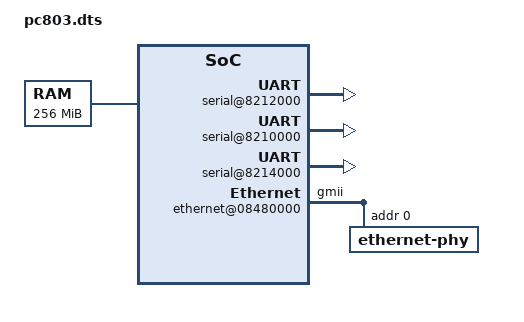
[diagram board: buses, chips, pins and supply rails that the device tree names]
/dts-v1/;
/ {
    #address-cells = <2>;
    #size-cells = <2>;

    aliases {
        uart0 = "/serial@8212000";
        uart1 = "/serial@8210000";
        uart2 = "/serial@8214000";
    };

    chosen {
        bootargs = "console=ttyS0,115200n8 earlycon=sbi";
        stdout-path = "uart0:115200n8";
    };

    per_clk: per_clk {
        #clock-cells = <0>;
        compatible = "fixed-clock";
        clock-frequency = <325000000>;
    };

    cpus {
        #address-cells = <1>;
        #size-cells = <0>;
        timebase-frequency = <30720000>;

        cpu0: cpu@0 {
            device_type = "cpu";
            compatible = "riscv";
            clock-frequency = <998400000>;
            riscv,priv-major = <0x1>;
            riscv,priv-minor = <0xa>;
            i-cache-size = <0x8000>;
            i-cache-line-size = <0x20>;
            i-cache-sets = <0x80>;
            d-cache-size = <0x8000>;
            d-cache-line-size = <0x20>;
            d-cache-sets = <0x80>;
            mmu-type = "riscv,sv64";
            reg = <0>;
            riscv,isa = "rv64imafdc";
            status = "okay";
            cpu0_intc: interrupt-controller {
                #interrupt-cells = <1>;
                compatible = "riscv,cpu-intc";
                interrupt-controller;
            };
        };

        cpu1: cpu@1 {
            device_type = "cpu";
            compatible = "riscv";
            clock-frequency = <998400000>;
            riscv,priv-major = <0x1>;
            riscv,priv-minor = <0xa>;
            i-cache-size = <0x8000>;
            i-cache-line-size = <0x20>;
            i-cache-sets = <0x80>;
            d-cache-size = <0x8000>;
            d-cache-line-size = <0x20>;
            d-cache-sets = <0x80>;
            mmu-type = "riscv,sv64";
            reg = <1>;
            riscv,isa = "rv64imafdc";
            status = "okay";
            cpu1_intc: interrupt-controller {
                #interrupt-cells = <1>;
                compatible = "riscv,cpu-intc";
                interrupt-controller;
            };
        };

    };

    memory@80000000 {
        /* ddr 256M */
        device_type = "memory";
        reg = <0x0 0x80000000 0x0 0x10000000>;
    };


    plic0: interrupt-controller@C800000 {
        #interrupt-cells = <1>;
        compatible = "riscv,plic0";
        interrupt-controller;
        riscv,ndev = <152>;
        interrupts-extended = <
            &cpu0_intc 11 &cpu0_intc 9
            &cpu1_intc 11 &cpu0_intc 9 >;
        reg = <0xC800000 0x400000>;
    };

    plmt0@C400000 {
        compatible = "riscv,plmt0";
        reg = <0x0 0xC400000 0x0 0x100000>;
        interrupts-extended = <&cpu0_intc 0x7 &cpu1_intc 0x7>;
    };

    serial@8212000 {
        compatible = "snps,dw-apb-uart";
        reg = <0x0 0x8212000 0x0 0x100>;
        clocks = <&per_clk>;
        clock-names = "baudclk";
        interrupts = <70>;
        reg-shift = <2>;
        reg-io-width = <4>;
        interrupt-parent = <&plic0>;
    };

    serial@8210000 {
        compatible = "snps,dw-apb-uaethernet@10090000rt";
        reg = <0x0 0x8210000 0x0 0x100>;
        clocks = <&per_clk>;
        clock-names = "baudclk";
        interrupts = <71>;
        reg-shift = <2>;
        reg-io-width = <4>;
        interrupt-parent = <&plic0>;
    };

    serial@8214000 {
        compatible = "snps,dw-apb-uart";
        reg = <0x0 0x8214000 0x0 0x100>;
        clocks = <&per_clk>;
        clock-names = "baudclk";
        interrupts = <72>;
        reg-shift = <2>;
        reg-io-width = <4>;
        interrupt-parent = <&plic0>;
    };

    ethernet@08480000 {
        compatible = "cdns,macb";
        interrupt-parent = <&plic0>;
        interrupts = <6>;
        reg = <0x0 0x08480000 0x0 0x2000>;
        reg-names = "control";
        local-mac-address = [70 b3 d5 92 f0 4a];
        phy-mode = "gmii";
        clocks = <&per_clk>, <&per_clk>;
        clock-names = "hclk", "pclk";
        #address-cells = <0x01>;
        #size-cells = <0x00>;

        ethernet-phy@0 {
            reg = <0x00>;
            //TODO add a reset GPIO
        };
    };

};
